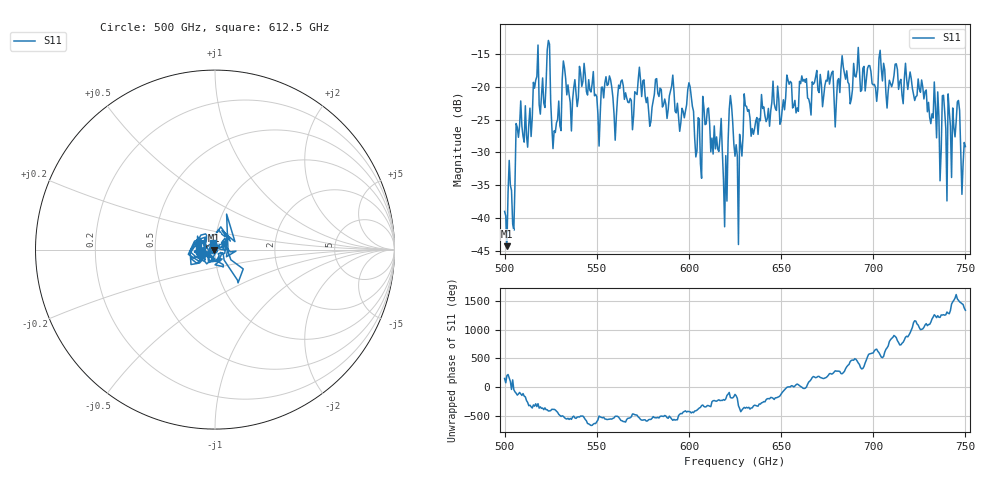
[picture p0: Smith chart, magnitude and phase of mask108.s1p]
!Created with skrf (http://scikit-rf.org).
# GHz S MA R 50.0
!freq magS11 angS11
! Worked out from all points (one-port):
!   401 points, 500 GHz to 750 GHz, reference 50 ohm
!   lowest |S11| = -44.3 dB at 501.2 GHz (marker M1), VSWR 1.01, Z = 49.4 - j0.231 ohm
!   |S11| at or under -10 dB: start of sweep to end of sweep
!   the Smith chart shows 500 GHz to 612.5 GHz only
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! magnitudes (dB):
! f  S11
! 500 GHz  -39.0
! 501.2 GHz  -44.3
! 504.4 GHz  -40.9
! 507.5 GHz  -27.7
! 513.1 GHz  -25.8
! 516.9 GHz  -19.0
! 520.6 GHz  -18.6
! 523.8 GHz  -12.9
! 526.9 GHz  -26.7
! 531.2 GHz  -18.9
! 541.9 GHz  -19.9
! 550.6 GHz  -24.1
! 556.2 GHz  -19.6
! 560 GHz  -28.1
! 562.5 GHz  -20.2
! 593.8 GHz  -22.5
! 600.6 GHz  -20.0
! 605.6 GHz  -24.9
! 608.8 GHz  -25.8
! 619.4 GHz  -41.3
! 622.5 GHz  -21.3
! 625 GHz  -30.6
! 627.5 GHz  -27.2
! 631.2 GHz  -23.0
! 656.2 GHz  -23.2
! 687.5 GHz  -22.6
! 718.8 GHz  -20.4
! 750 GHz  -29.1
